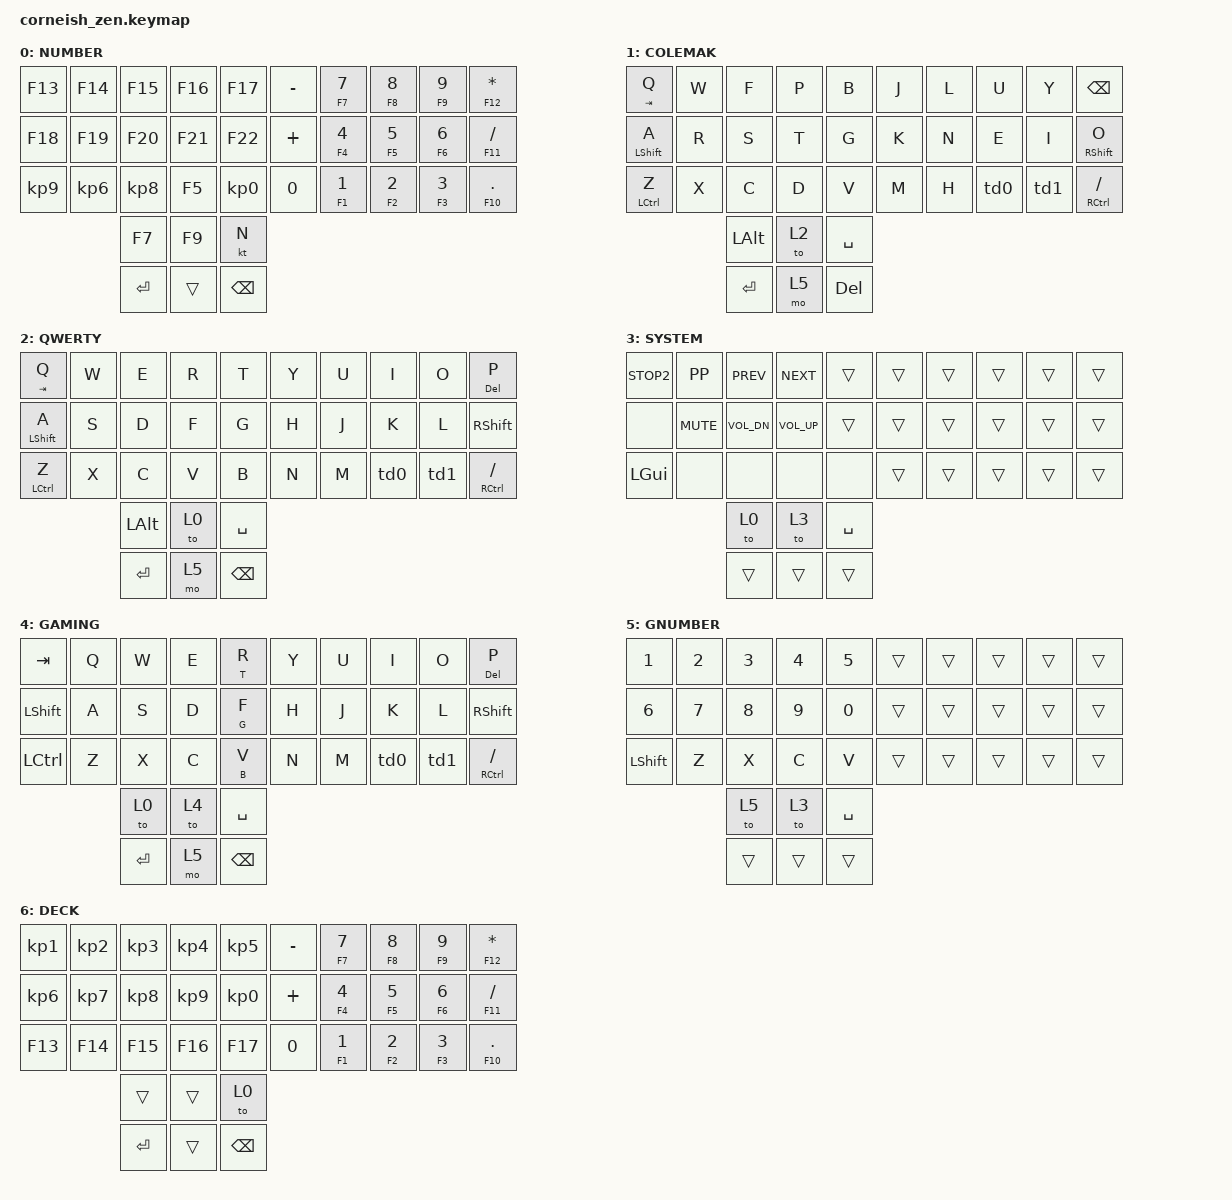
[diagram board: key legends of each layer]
#include <behaviors.dtsi>
#include <dt-bindings/zmk/keys.h>
#include <dt-bindings/zmk/bt.h>

#define NUM     0
#define DEFAULT 5
#define QWERTY  1
#define SYS     2
#define GAME    3
#define GAMENUM 4

#define DECK    6

#include "keypos.h"       // Used to define keys for combos
#include "combos.dtsi"    // Include after defining layers
#include "tapdance.dtsi"  // Tap dance combos

&mt {
    flavor = "balanced";
    tapping-term-ms = <250>;
};

/ {
  chosen {
   // zmk,matrix_transform = &default_transform;
    zmk,matrix_transform = &five_column_transform;
  };
};

/ {
        keymap {
                compatible = "zmk,keymap";

                num_layer {                   //Layer 5 
                        label = "NUMBER";
// -----------------------------------------------------------------------------------------
// | F13  | F14 | F15 | F16 | F17 |     |  -  | F7-7 | F8-8 | F9-9 | F12-* |
// | F18  | F19 | F20 | F21 | F22 |     |  +  | F4-4 | F5-5 | F6-6 | F11-/ |
// | NP9  | NP6 | NP8 | NP5 | NP0 |     |  0  | F1-1 | F2-2 | F3-3 | F10-. |
//              | F7  | F9  |Kt-N |     | ENT |      | bksp |
                        bindings = <
   &kp F13    &kp F14    &kp F15    &kp F16     &kp F17         &kp MINUS   &mt F7 N7     &mt F8 N8     &mt F9 N9   &mt F12 STAR 
   &kp F18    &kp F19    &kp F20    &kp F21     &kp F22         &kp PLUS    &mt F4 N4     &mt F5 N5     &mt F6 N6   &mt F11 FSLH 
   &kp KP_N9  &kp KP_N6  &kp KP_N8  &kp F5      &kp KP_N0       &kp N0      &mt F1 N1     &mt F2 N2     &mt F3 N3   &mt F10 DOT 
                         &kp F7     &kp F9      &kt N         
                          &kp RET     &trans        &kp BKSP
                        >; 
                };
                default_layer {
                        label = "COLEMAK";
// ----------------------------------------------------------------------------------------
//   |TAB-Q|  W  |  F  |  P  |  B  |   |  J  |  L   |  U  |  Y  | BKSP|
//   |Sft-A|  R  |  S  |  T  |  G  |   |  K  |  N   |  E  |  I  |Sft-O|
//   |Ctl-Z|  X  |  C  |  D  |  V  |   |  M  |  H   | ,;: | .'" |Ctl-/|
//               | Alt | Sys | SPC |   | ENT |L-Num | DEL |
                        bindings = < 
   &mt TAB Q      &kp W    &kp F    &kp P  &kp B        &kp J    &kp L   &kp U       &kp Y     &kp BKSP   
   &mt LSHFT A    &kp R    &kp S    &kp T  &kp G        &kp K    &kp N   &kp E       &kp I     &mt RSHFT O
   &mt LCTRL Z    &kp X    &kp C    &kp D  &kp V        &kp M    &kp H   &td0        &td1      &mt RCTRL FSLH
                           &kp LALT &to 2  &kp SPACE    &kp RET  &mo 5   &kp DEL
                        >;
                };

                qwerty_layer {                   //Layer 1
                        label = "QWERTY";
// -----------------------------------------------------------------------------------------
//   |Tab-Q|  W  |  E  |  R  |  T  |   |  Y  |  U   |  I  |  O  |DEL-P|
//   |Sft-A|  S  |  D  |  F  |  G  |   |  H  |  J   |  K  |  L  | Sft |
//   |Ctl-Z|  X  |  C  |  V  |  B  |   |  N  |  M   | ,;: | .'" |Ctl-/|
//               | ALT |L-Def| SPC |   | ENT |L-Num | BKSP |
                        bindings = < 
   &mt TAB Q      &kp W    &kp E    &kp R    &kp T        &kp Y    &kp U   &kp I       &kp O     &mt DEL P
   &mt LSHFT A    &kp S    &kp D    &kp F    &kp G        &kp H    &kp J   &kp K       &kp L     &kp RSHFT
   &mt LCTRL Z    &kp X    &kp C    &kp V    &kp B        &kp N    &kp M   &td0        &td1      &mt RCTRL FSLH
                           &kp LALT &to 0    &kp SPACE    &kp RET  &mo 5   &kp BKSP
                        >;
                };

                sys_layer {                   //Layer 2
                        label = "SYSTEM";
// -----------------------------------------------------------------------------------------
// | Stop |Pause |Vid <<|Vid >>|     |   |     |     |     |     |     |
// |      | Mute | Vol- | Vol+ |     |   |     |     |     |     |     |
// | GUI  |      |      |      |     |   |     |     |     |     |     |
//               |L-Def|L-Game | SPC |   |     |     |     |
                        bindings = <
   &kp K_STOP2  &kp K_PP     &kp K_PREV     &kp K_NEXT     &trans      &trans       &trans       &trans       &trans       &trans
   &none        &kp K_MUTE   &kp C_VOL_DN   &kp C_VOL_UP   &trans      &trans       &trans       &trans       &trans       &trans
   &kp LGUI     &none        &none          &none          &none       &trans       &trans       &trans       &trans       &trans
                             &to 0          &to 3          &kp SPACE   &trans       &trans       &trans
                        >;
                };

                game_layer {                   //Layer 3
                        label = "GAMING";
// -----------------------------------------------------------------------------------------
// |  Tab |  Q  |  W  |  E  |   TR   |   |  Y  |  U  |  I  |  O  |DEL-P |
// |L-Shft|  A  |  S  |  D  |   GF   |   |  H  |  J  |  K  |  L  | SHFT |
// |L-Ctrl|  Z  |  X  |  C  |   BV   |   |  N  |  M  |  ,  |  .  |  /   |
//              |L-Def|L-GNum| SPC |    | ENT | NUM | BSKP|
                        bindings = <
   &kp TAB       &kp Q   &kp W   &kp E   &mt T R       &kp Y    &kp U   &kp I       &kp O     &mt DEL P
   &kp LSHFT     &kp A   &kp S   &kp D   &mt G F       &kp H    &kp J   &kp K       &kp L     &kp RSHFT
   &kp LCTRL     &kp Z   &kp X   &kp C   &mt B V       &kp N    &kp M   &td0        &td1      &mt RCTRL FSLH
                         &to 0   &to 4   &kp SPACE     &kp RET  &mo 5   &kp BKSP
                        >;
                };

		gamenum_layer {                   //Layer 4
                        label = "GNUMBER";
// -----------------------------------------------------------------------------------------
// |   1   |  2  |  3  |  4  |  5   |   |     |     |     |     |     |
// |   6   |  7  |  8  |  9  |  0   |   |     |     |     |     |     |
// | LShft |  Z  |  X  |  C  |  V   |   |     |     |     |     |     |
//               |     |     |      |   |     |     |     |
                        bindings = <
   &kp N1      &kp N2   &kp N3   &kp N4   &kp N5      &trans       &trans       &trans       &trans       &trans
   &kp N6      &kp N7   &kp N8   &kp N9   &kp N0      &trans       &trans       &trans       &trans       &trans
   &kp LSHFT   &kp Z    &kp X    &kp C    &kp V       &trans       &trans       &trans       &trans       &trans
                        &to 5    &to 3    &kp SPACE   &trans       &trans       &trans
                        >; 
                };



                        
                deck_layer {                   //Layer 6 
                        label = "DECK";
// -----------------------------------------------------------------------------------------
// | KP1  | KP2 | KP3 | KP4 | KP5 |   |  -  | F7-7 | F8-8 | F9-9 | F12-* |
// | KP6  | KP7 | KP8 | KP9 | KP0 |   |  +  | F4-4 | F5-5 | F6-6 | F11-/ |
// | F13  | F14 | F15 | F16 | F17 |   |  0  | F1-1 | F2-2 | F3-3 | F10-. |
//              |L-Def|L-QWE| SPC |   | ENT |      | bksp |
                        bindings = <
   &kp KP_N1    &kp KP_N2    &kp KP_N3    &kp KP_N4    &kp KP_N5         &kp MINUS   &mt F7 N7     &mt F8 N8     &mt F9 N9   &mt F12 STAR 
   &kp KP_N6    &kp KP_N7    &kp KP_N8    &kp KP_N9    &kp KP_N0         &kp PLUS    &mt F4 N4     &mt F5 N5     &mt F6 N6   &mt F11 FSLH 
   &kp F13      &kp F14      &kp F15      &kp F16      &kp F17         &kp N0      &mt F1 N1     &mt F2 N2     &mt F3 N3   &mt F10 DOT 
                             &trans       &trans       &to 0           &kp RET     &trans        &kp BKSP
                        >; 
                };
        };
};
